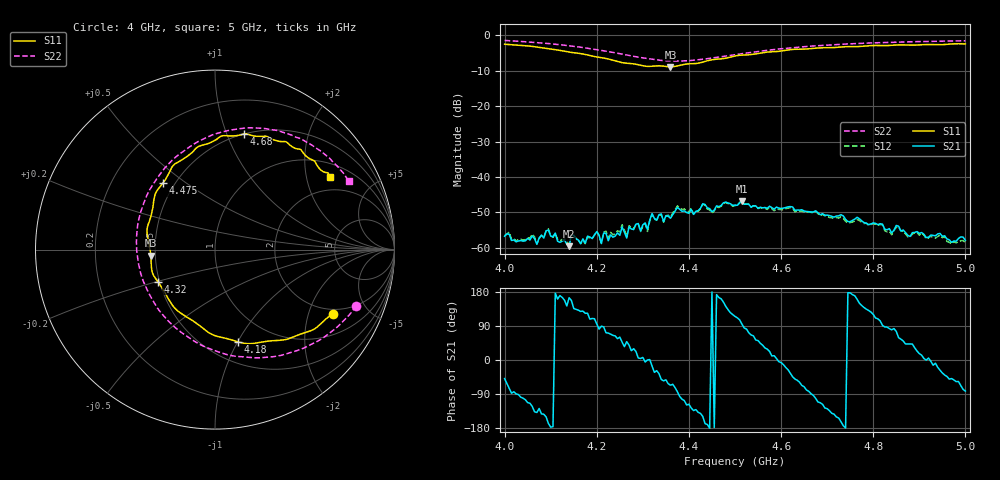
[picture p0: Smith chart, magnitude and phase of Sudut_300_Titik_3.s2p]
# Hz S RI R 50
! CMT, C1220, 16058040, 17.2.0/1
! Date: 15/08/2018 12:41:50
! Data: Format (Calibration Info)
! Freq  S11: Re/Im (F2)  S21: Re/Im (F2)  S12: Re/Im (F2)  S22: Re/Im (F2)
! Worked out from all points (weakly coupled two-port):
!   201 points, 4 GHz to 5 GHz, reference 50 ohm
!   highest |S21| = -46.94 dB at 4.515 GHz (marker M1); lowest = -59.6 dB at 4.14 GHz (marker M2)
!   lowest |S11| = -8.9 dB at 4.36 GHz (marker M3), VSWR 2.12, Z = 23.6 - j1.85 ohm
!   |S11| at or under -10 dB: nowhere
!   |S22| runs from -7.3 to -1.4 dB; largest |S21 - S12| = 0.00023
!   S11 on the Smith chart (normalised r, x): 4 GHz: 1.79, -2.93; 4.18 GHz: 0.70, -1.00; 4.32 GHz: 0.49, -0.20; 4.475 GHz: 0.43, +0.41; 4.68 GHz: 0.50, +1.15; 5 GHz: 1.45, +2.76
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4e9  0.6592 -0.3574  0.000948 -0.0011  0.00102 -0.00107  0.7873 -0.3131
4.07e9  0.5055 -0.461  -0.000837 -0.000742  -0.000826 -0.00076  0.6412 -0.4626
4.095e9  0.4255 -0.491  -0.00173 -0.000393  -0.00179 -0.000443  0.5721 -0.5101
4.14e9  0.2711 -0.5136  -0.00101 0.000284  -0.00106 0.000313  0.4216 -0.5736
4.145e9  0.2511 -0.5163  -0.0014 0.000594  -0.00139 0.000638  0.4023 -0.5796
4.17e9  0.1589 -0.5215  -0.000838 0.00103  -0.000779 0.00101  0.3074 -0.5984
4.18e9  0.1259 -0.5133  -0.000799 0.00121  -0.000809 0.00117  0.2653 -0.6012
4.21e9  0.0141 -0.4839  1.57e-05 0.00114  -0.000125 0.00115  0.1387 -0.5964
4.255e9  -0.137 -0.388  0.00133 0.00144  0.00147 0.0015  -0.0592 -0.5401
4.31e9  -0.2936 -0.2156  0.00181 1.97e-06  0.00169 -2.64e-05  -0.2764 -0.3798
4.32e9  -0.3202 -0.1782  0.00292 -0.000806  0.00288 -0.000738  -0.31 -0.3406
4.335e9  -0.349 -0.1284  0.00238 -0.00171  0.00238 -0.00161  -0.3512 -0.275
4.36e9  -0.3575 -0.0341  0.00104 -0.00239  0.00116 -0.00241  -0.4067 -0.1572
4.375e9  -0.3679 0.0364  0.000413 -0.00368  0.000397 -0.00386  -0.4253 -0.0824
4.45e9  -0.3349 0.3031  -0.00322 2.94e-05  -0.00307 0.000156  -0.3898 0.2771
4.475e9  -0.2925 0.3689  -0.00383 0.00199  -0.00375 0.00192  -0.3381 0.3731
4.5e9  -0.2463 0.447  -0.00169 0.00362  -0.00172 0.00353  -0.2794 0.4546
4.515e9  -0.2251 0.4759  -0.00038 0.00448  -0.000252 0.00451  -0.2384 0.498
4.67e9  0.1416 0.639  -0.000192 -0.00319  -0.000241 -0.0031  0.2025 0.6784
4.68e9  0.1598 0.6436  -0.0011 -0.00292  -0.00107 -0.00283  0.2296 0.6773
4.835e9  0.4464 0.5644  0.000232 0.00184  0.000214 0.00169  0.5488 0.5761
5e9  0.6398 0.4051  0.000174 -0.00126  0.000174 -0.00117  0.7454 0.3842
